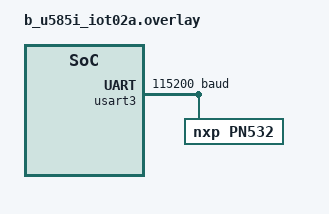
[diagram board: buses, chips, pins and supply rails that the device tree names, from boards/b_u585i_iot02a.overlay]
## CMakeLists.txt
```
# Copyright (c) 2026 Bayrem Gharsellaoui
# SPDX-License-Identifier: Apache-2.0

cmake_minimum_required(VERSION 3.20.0)
find_package(Zephyr REQUIRED HINTS $ENV{ZEPHYR_BASE})
project(app)

target_sources(app PRIVATE
  src/main.c
)
```

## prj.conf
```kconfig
# Copyright (c) 2026 Bayrem Gharsellaoui
# SPDX-License-Identifier: Apache-2.0

# Logging
CONFIG_LOG=y
CONFIG_LOG_MODE_IMMEDIATE=y

# PN532 NFC module
CONFIG_SERIAL=y
CONFIG_UART_INTERRUPT_DRIVEN=y
CONFIG_PN532=y
CONFIG_PN532_LOG_LEVEL=4
```

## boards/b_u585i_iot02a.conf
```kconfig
# Copyright (c) 2026 Bayrem Gharsellaoui
# SPDX-License-Identifier: Apache-2.0

# Debugging
CONFIG_DEBUG_COREDUMP=y
```

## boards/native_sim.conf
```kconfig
# Copyright (c) 2026 Bayrem Gharsellaoui
# SPDX-License-Identifier: Apache-2.0

# I/O redirect
CONFIG_UART_NATIVE_PTY_0_ON_STDINOUT=n
```

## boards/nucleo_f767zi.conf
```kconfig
# Copyright (c) 2026 Bayrem Gharsellaoui
# SPDX-License-Identifier: Apache-2.0

# GPIO
CONFIG_GPIO=y

# UART
CONFIG_SERIAL=y
CONFIG_UART_INTERRUPT_DRIVEN=y

# Networking
CONFIG_NET_L2_ETHERNET=n
```

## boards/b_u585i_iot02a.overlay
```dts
/*
 * Copyright (c) 2026 Bayrem Gharsellaoui
 * SPDX-License-Identifier: Apache-2.0
 */

&usart3 {
    status = "okay";
    current-speed = <115200>;

    pn532 {
        compatible = "nxp,pn532";

        /* Optional reset line */
        // irq-gpios = <&gpioc 5 GPIO_ACTIVE_HIGH>;

        /* Optional reset line */
        // reset-gpios = <&gpioc 4 GPIO_ACTIVE_LOW>;
    };
};
```

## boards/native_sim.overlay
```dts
/*
 * Copyright (c) 2026 Bayrem Gharsellaoui
 * SPDX-License-Identifier: Apache-2.0
 */

&uart1 {
    status = "okay";
    compatible = "zephyr,native-tty-uart";
    current-speed = <115200>;
    serial-port = "/dev/ttyUSB0";

    pn532 {
        compatible = "nxp,pn532";
        /* No IRQ or reset pin used in native_sim */
    };
};
```

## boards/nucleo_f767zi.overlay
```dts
/*
 * Copyright (c) 2026 Bayrem Gharsellaoui
 * SPDX-License-Identifier: Apache-2.0
 */

&i2c1 {
    status = "okay";
    pn532: pn532@24 {
        compatible = "nxp,pn532";
        reg = <0x24>;
        status = "okay";
    };
};
```

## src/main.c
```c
/*
 * Copyright (c) 2026 Bayrem Gharsellaoui
 * SPDX-License-Identifier: Apache-2.0
 */

#include <zephyr/kernel.h>
#include <zephyr/logging/log.h>
LOG_MODULE_REGISTER(main);

#include "pn532.h"

int main(void)
{
	const struct device *dev = DEVICE_DT_GET_ONE(nxp_pn532);

	if (!device_is_ready(dev)) {
		LOG_ERR("PN532 device not ready");
		return 0;
	}

	/* ---- GetFirmwareVersion ---- */
	struct pn532_fw_version version = {0};
	if (pn532_get_firmware_version(dev, &version) < 0) {
		LOG_ERR("GetFirmwareVersion failed");
		return 0;
	}
	LOG_INF("Found PN5%02X", version.ic);
	LOG_INF("Firmware version: %d.%d", version.ver, version.rev);

	while (1) {
		k_msleep(100);
	}

	return 0;
}
```
